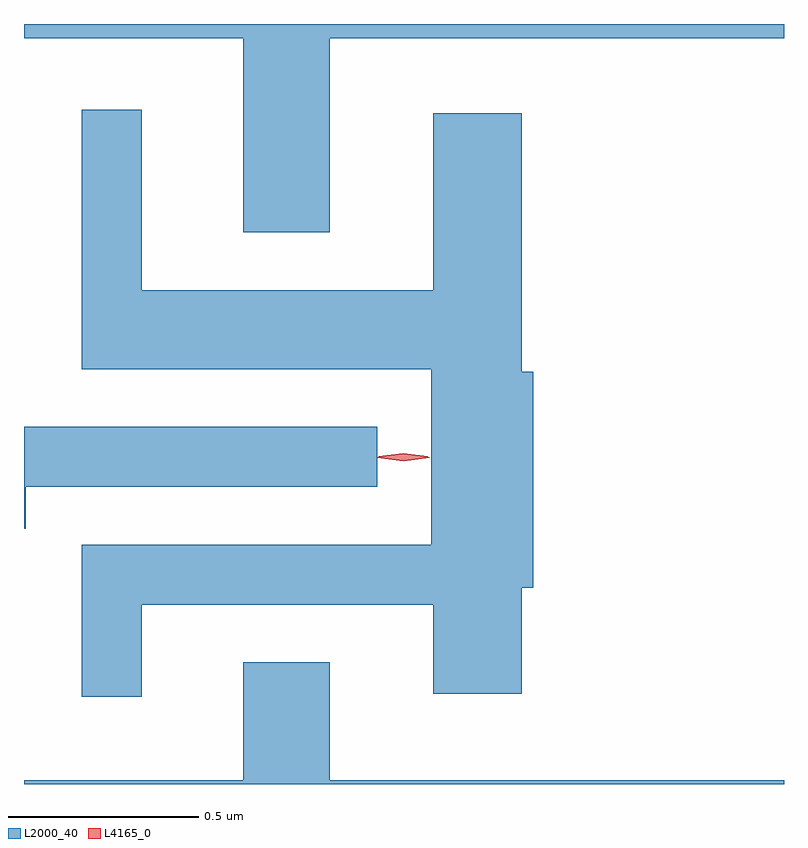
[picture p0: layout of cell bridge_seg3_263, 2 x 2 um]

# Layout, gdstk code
import gdstk
lib = gdstk.Library(unit=1e-6, precision=1e-09)
def P(c, l, *ps):  # polygons
    for p in ps: c.add(gdstk.Polygon(p, *l))
L2000_40 = (2000, 40)
L4165_0 = (4165, 0)

bridge_seg3_263 = lib.new_cell('bridge_seg3_263')
P(bridge_seg3_263, L2000_40, [(911.699,1141.556),(912.894,1141.556),(912.894,1141.594),(910.894,1141.594),(910.894,1141.556),(911.471,1141.556),(911.471,1141.046),(911.699,1141.046)],
  [(911.204,1140.066),(911.971,1140.066),(911.971,1139.831),(912.204,1139.831),(912.204,1140.111),(912.234,1140.111),(912.234,1140.679),(912.204,1140.679),(912.204,1141.359),(911.971,1141.359),(911.971,1140.894),(911.204,1140.894),(911.204,1141.368),(911.046,1141.368),(911.046,1140.686),(911.966,1140.686),(911.966,1140.224),(911.046,1140.224),(911.046,1139.823),(911.204,1139.823)],
  [(910.899,1140.376),(911.823,1140.376),(911.823,1140.534),(910.894,1140.534),(910.894,1140.266),(910.899,1140.266)],
  [(912.894,1139.604),(911.699,1139.604),(911.699,1139.914),(911.471,1139.914),(911.471,1139.604),(910.894,1139.604),(910.894,1139.594),(912.894,1139.594)])
P(bridge_seg3_263, L4165_0, [(911.893,1140.444),(911.824,1140.453),(911.824,1140.454),(911.824,1140.454),(911.893,1140.463),(911.961,1140.454),(911.962,1140.453),(911.961,1140.452)],
  [(911.892,1140.445),(911.827,1140.454),(911.827,1140.455),(911.827,1140.456),(911.892,1140.465),(911.957,1140.456),(911.957,1140.455),(911.957,1140.454)])

lib.write_gds('bridge_seg3_263.gds')
